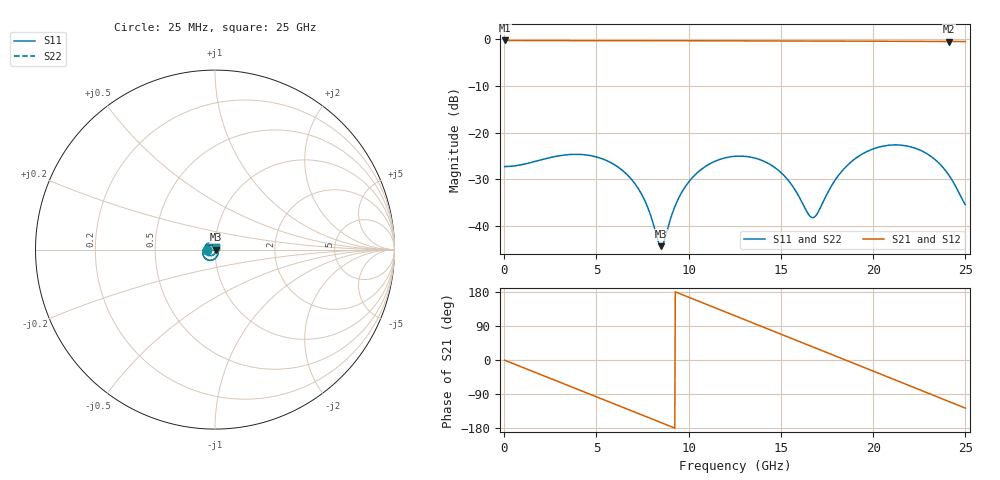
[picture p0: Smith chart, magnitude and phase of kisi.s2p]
! thru_RG_ts6p_L4: 2×thru, L4, 8 mm
! stackup: ThunderScope Rev5.3 6-layer with the In2 plane
! ports: 1, 2
! kisi-fdtd, conformal, dfine 0.07 mm, 136955 cells
# Hz S RI R 50
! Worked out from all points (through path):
!   1000 points, 25 MHz to 25 GHz, reference 50 ohm
!   highest |S21| = -0.36 dB at 25 MHz (marker M1); lowest = -0.6 dB at 24.12 GHz (marker M2)
!   group delay of S21, straight-line fit = 54.1 ps
!   lowest |S11| = -44.3 dB at 8.5 GHz (marker M3), VSWR 1.01, Z = 50.6 + j0.0188 ohm
!   |S11| at or under -10 dB: start of sweep to end of sweep
!   |S22| runs from -44.3 to -22.6 dB; largest |S21 - S12| = 0
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2.5e7  -0.0433 -7.36e-05  0.9594 -0.00818  0.9594 -0.00818  -0.0433 -7.36e-05
1.9e9  -0.0505 -0.00141  0.764 -0.5761  0.764 -0.5761  -0.0505 -0.00141
3.1e9  -0.0564 0.0075  0.4738 -0.8291  0.4738 -0.8291  -0.0564 0.0075
4.2e9  -0.0541 0.0215  0.1407 -0.9441  0.1407 -0.9441  -0.0541 0.0215
5.5e9  -0.037 0.0346  -0.2746 -0.9146  -0.2746 -0.9146  -0.037 0.0346
6.85e9  -0.0109 0.0306  -0.6509 -0.6992  -0.6509 -0.6992  -0.0109 0.0306
7.675e9  0.00146 0.0178  -0.8187 -0.4917  -0.8187 -0.4917  0.00146 0.0178
8.35e9  0.00596 0.00354  -0.9087 -0.2925  -0.9087 -0.2925  0.00596 0.00354
8.5e9  0.00613 0.000186  -0.9222 -0.2457  -0.9222 -0.2457  0.00613 0.000186
9.375e9  0.000894 -0.0184  -0.9527 0.0352  -0.9527 0.0352  0.000894 -0.0184
1.01e10  -0.0104 -0.0295  -0.9144 0.2661  -0.9144 0.2661  -0.0104 -0.0295
1.12e10  -0.0332 -0.0332  -0.753 0.5802  -0.753 0.5802  -0.0332 -0.0332
1.2525e10  -0.0535 -0.0157  -0.4255 0.848  -0.4255 0.848  -0.0535 -0.0157
1.455e10  -0.038 0.0221  0.2084 0.9238  0.2084 0.9238  -0.038 0.0221
1.5475e10  -0.0158 0.025  0.4836 0.8137  0.4836 0.8137  -0.0158 0.025
1.6675e10  0.00985 0.00751  0.7668 0.5542  0.7668 0.5542  0.00985 0.00751
1.7725e10  0.0164 -0.021  0.9118 0.2498  0.9118 0.2498  0.0164 -0.021
1.875e10  0.00309 -0.0474  0.9409 -0.0783  0.9409 -0.0783  0.00309 -0.0474
2.085e10  -0.0542 -0.0491  0.654 -0.675  0.654 -0.675  -0.0542 -0.0491
2.2525e10  -0.0651 -0.0023  0.1841 -0.9178  0.1841 -0.9178  -0.0651 -0.0023
2.4125e10  -0.0241 0.0249  -0.3184 -0.8786  -0.3184 -0.8786  -0.0241 0.0249
2.5e10  0.00462 0.0163  -0.5636 -0.7461  -0.5636 -0.7461  0.00462 0.0163
